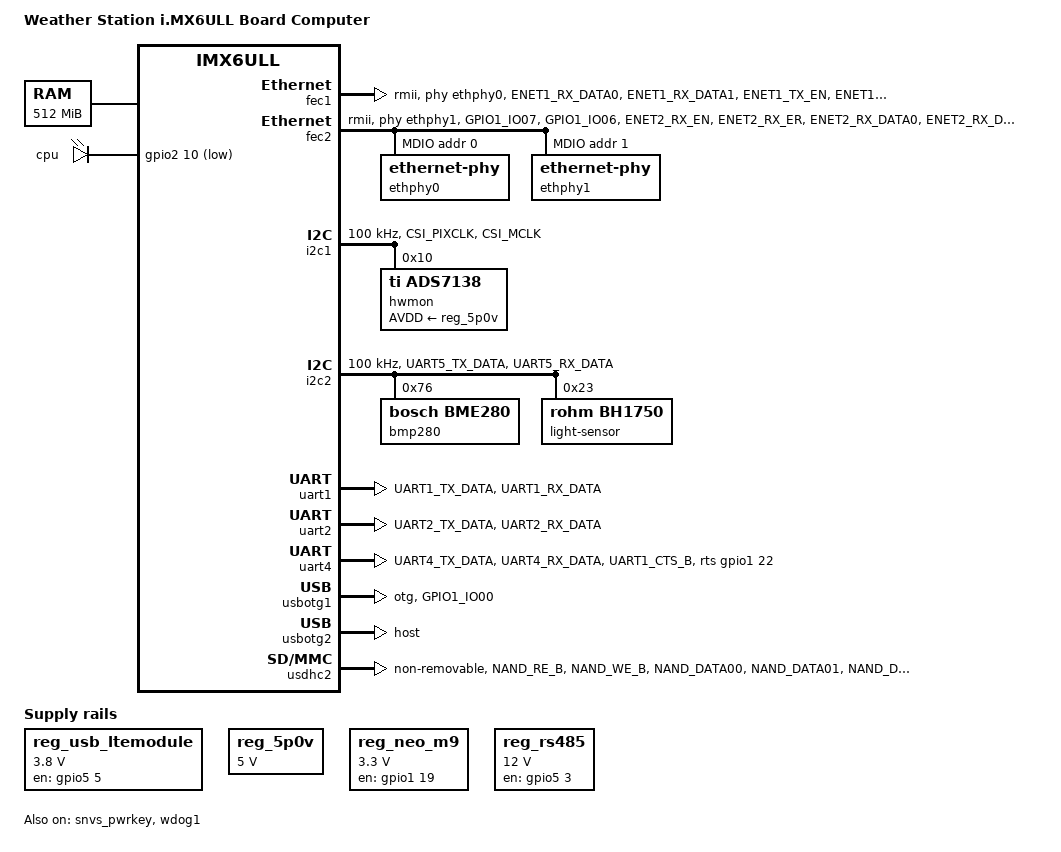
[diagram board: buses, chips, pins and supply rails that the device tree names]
// SPDX-License-Identifier: GPL-2.0
/*
 * Copyright (C) 2020 Linumiz
 * Author: Parthiban Nallathambi <parthiban@linumiz.com>
 */

/dts-v1/;
 #include "imx6ull.dtsi"

/ {
	model = "Weather Station i.MX6ULL Board Computer";
	compatible = "fsl,imx6ull-14x14-evk", "fsl,imx6ull";

	chosen {
		stdout-path = &uart1;
	};

	memory@80000000 {
		device_type = "memory";
		reg = <0x80000000 0x20000000>;
	};

	reserved-memory {
		#address-cells = <1>;
		#size-cells = <1>;
		ranges;

		linux,cma {
			compatible = "shared-dma-pool";
			reusable;
			size = <0x8000000>;
			linux,cma-default;
		};
	};

	leds {
		compatible = "gpio-leds";
		pinctrl-names = "default";
		pinctrl-0 = <&pinctrl_leds>;

		led0: cpu {
			label = "cpu";
			gpios = <&gpio2 10 GPIO_ACTIVE_LOW>;
			default-state = "on";
			linux,default-trigger = "heartbeat";
		};
    };

	reg_usb_ltemodule: regulator@1 {
		compatible = "regulator-fixed";
		regulator-name = "ltemodule-pwr";
		regulator-min-microvolt = <3800000>;
		regulator-max-microvolt = <3800000>;
		gpios = <&gpio5 5 GPIO_ACTIVE_HIGH>;
		enable-active-high;
		regulator-boot-on;
		regulator-always-on;
	};

	reg_5p0v: regulator-5p0v {
		compatible = "regulator-fixed";
		regulator-name = "5P0V";
		regulator-min-microvolt = <5000000>;
		regulator-max-microvolt = <5000000>;
		regulator-always-on;
	};

	reg_neo_m9: regulator@2 {
		compatible = "regulator-fixed";
		regulator-name = "neo-m9-power";
		regulator-min-microvolt = <3300000>;
		regulator-max-microvolt = <3300000>;
		gpios = <&gpio1 19 GPIO_ACTIVE_HIGH>;
		startup-delay-us = <20000>;
		enable-active-high;
		regulator-always-on;
	};

	reg_rs485: regulator@3 {
		compatible = "regulator-fixed";
		regulator-name = "rs-485-12vpower";
		regulator-min-microvolt = <12000000>;
		regulator-max-microvolt = <12000000>;
		gpios = <&gpio5 3 GPIO_ACTIVE_HIGH>;
		enable-active-high;
	};
};

&fec1 {
	pinctrl-names = "default";
	pinctrl-0 = <&pinctrl_enet1>;
	phy-mode = "rmii";
	phy-handle = <&ethphy0>;
	phy-reset-gpios = <&gpio5 9 GPIO_ACTIVE_LOW>;
	phy-reset-duration = <26>;
	phy-reset-post-delay=<20>;
	status = "okay";
};

&fec2 {
	pinctrl-names = "default";
	pinctrl-0 = <&pinctrl_enet2>;
	phy-mode = "rmii";
	phy-handle = <&ethphy1>;
	phy-reset-gpios = <&gpio5 6 GPIO_ACTIVE_LOW>;
	phy-reset-duration = <26>;
	phy-reset-post-delay=<20>;
	status = "okay";

	mdio {
		#address-cells = <1>;
		#size-cells = <0>;

		ethphy0: ethernet-phy@0 {
			reg = <0>;
			micrel,led-mode = <1>;
		};

		ethphy1: ethernet-phy@1 {
			reg = <1>;
			micrel,led-mode = <1>;
		};
	};
};

&gpmi {
	status = "disabled";
};

&i2c1 {
	clock-frequency = <100000>;
	pinctrl-names = "default";
	pinctrl-0 = <&pinctrl_i2c1>;
	status = "okay";

	hwmon@10 {
		compatible = "ti,ads7138";
		reg = <0x10>;
		AVDD-supply = <&reg_5p0v>;
	};
};

&i2c2 {
	clock-frequency = <100000>;
	pinctrl-names = "default";
	pinctrl-0 = <&pinctrl_i2c2>;
	status = "okay";

	bmp280: pressure@76 {
		compatible = "bosch,bme280";
		reg = <0x76>;
	};

	light-sensor@23 {
		compatible = "rohm,bh1750";
		reg = <0x23>;
	};
};

&snvs_poweroff {
	status = "okay";
};

&snvs_pwrkey {
	status = "okay";
};

&uart1 {
	pinctrl-names = "default";
	pinctrl-0 = <&pinctrl_uart1>;
	status = "okay";
};

&uart2 {
	pinctrl-names = "default";
	pinctrl-0 = <&pinctrl_uart2>;
	uart-has-rtscts;
	/* for DTE mode, add below change */
	/* fsl,dte-mode; */
	/* pinctrl-0 = <&pinctrl_uart2dte>; */
	status = "okay";
};

&uart4 {
    pinctrl-names = "default";
    pinctrl-0 = <&pinctrl_uart4>;
    rts-gpios = <&gpio1 22 GPIO_ACTIVE_HIGH>;
    status = "okay";
};

&usbotg1 {
	dr_mode = "otg";
	pinctrl-names = "default";
	pinctrl-0 = <&pinctrl_usb_otg1>;
	srp-disable;
	hnp-disable;
	adp-disable;
	status = "okay";
};

&usbotg2 {
	dr_mode = "host";
	disable-over-current;
	status = "okay";
};

&usbphy1 {
	fsl,tx-d-cal = <5>;
};

&usbphy2 {
	fsl,tx-d-cal = <5>;
};

&usdhc2 {
    pinctrl-names = "default";
    pinctrl-0 = <&pinctrl_usdhc2>;
    non-removable;
    keep-power-in-suspend;
    wakeup-source;
    status = "okay";
};

&wdog1 {
	pinctrl-names = "default";
	status="okay";
};

&gpio3 {
	pinctrl-names = "default";
	pinctrl-0 = <&pinctrl_gpio3>;

	// gpio-line-names = "GPO0",
	// "GPIO1",
	// "GPIO2",
	// "GPIO3",
	// "GPIO4",
	// "GPIO5",
	// "GPIO6",
	// "GPIO7",
	// "GPIO8",
	// "GPIO9",
	// "GPIO10",
	// "";
}; 

&iomuxc {
	pinctrl-names = "default";
	pinctrl_hog_1: hoggrp-1 {
	fsl,pins = <
		MX6UL_PAD_NAND_CE1_B__GPIO4_IO14    0x17059 /* LTE RESET */
		MX6ULL_PAD_CSI_HSYNC__ESAI_TX1		0x17059 /* ADS Alert */
		MX6UL_PAD_UART1_RTS_B__GPIO1_IO19	0x17059 /* GPS Enable */
		>;
	};

	pinctrl_gpio3: gpio3grp {
		fsl,pins = <
		MX6UL_PAD_LCD_CLK__GPIO3_IO00			0x17059 /* GPO0 */
		MX6UL_PAD_LCD_ENABLE__GPIO3_IO01		0x17059 /* GPO1 */
		MX6UL_PAD_LCD_HSYNC__GPIO3_IO02			0x17059 /* GPO2 */
		MX6UL_PAD_LCD_VSYNC__GPIO3_IO03			0x17059 /* GPO3 */
		MX6UL_PAD_LCD_RESET__GPIO3_IO04			0x17059 /* GPO4 */
		MX6UL_PAD_LCD_DATA00__GPIO3_IO05		0x17059 /* GPO5 */
		MX6UL_PAD_LCD_DATA01__GPIO3_IO06		0x17059 /* GPO6 */
		MX6UL_PAD_LCD_DATA02__GPIO3_IO07		0x17059 /* GPO7 */
		MX6UL_PAD_LCD_DATA03__GPIO3_IO08		0x17059 /* GPO8 */
		MX6UL_PAD_LCD_DATA04__GPIO3_IO09		0x17059 /* GPO9 */
		MX6UL_PAD_LCD_DATA05__GPIO3_IO10		0x17059 /* GPO10 */
		>;
	};

	pinctrl_enet1: enet1grp {
		fsl,pins = <
			MX6UL_PAD_ENET1_RX_DATA0__ENET1_RDATA00	0x1b0b0
			MX6UL_PAD_ENET1_RX_DATA1__ENET1_RDATA01	0x1b0b0
			MX6UL_PAD_ENET1_TX_EN__ENET1_TX_EN	0x1b0b0
			MX6UL_PAD_ENET1_TX_DATA0__ENET1_TDATA00	0x1b0b0
			MX6UL_PAD_ENET1_TX_DATA1__ENET1_TDATA01	0x1b0b0
			MX6UL_PAD_ENET1_TX_CLK__ENET1_REF_CLK1	0x4001b031
		>;
	};

	pinctrl_enet2: enet2grp {
		fsl,pins = <
			MX6UL_PAD_GPIO1_IO07__ENET2_MDC		0x1b0b0
			MX6UL_PAD_GPIO1_IO06__ENET2_MDIO	0x1b0b0
			MX6UL_PAD_ENET2_RX_EN__ENET2_RX_EN	0x1b0b0
			MX6UL_PAD_ENET2_RX_ER__ENET2_RX_ER	0x1b0b0
			MX6UL_PAD_ENET2_RX_DATA0__ENET2_RDATA00	0x1b0b0
			MX6UL_PAD_ENET2_RX_DATA1__ENET2_RDATA01	0x1b0b0
			MX6UL_PAD_ENET2_TX_EN__ENET2_TX_EN	0x1b0b0
			MX6UL_PAD_ENET2_TX_DATA0__ENET2_TDATA00	0x1b0b0
			MX6UL_PAD_ENET2_TX_DATA1__ENET2_TDATA01	0x1b0b0
			MX6UL_PAD_ENET2_TX_CLK__ENET2_REF_CLK2	0x4001b031
		>;
	};

	pinctrl_i2c1: i2c1grp {
		fsl,pins = <
			MX6UL_PAD_CSI_PIXCLK__I2C1_SCL 0x4001b8b0
			MX6UL_PAD_CSI_MCLK__I2C1_SDA 0x4001b8b0
		>;
	};

	pinctrl_i2c2: i2c2grp {
		fsl,pins = <
			MX6UL_PAD_UART5_TX_DATA__I2C2_SCL 0x4001b8b0
			MX6UL_PAD_UART5_RX_DATA__I2C2_SDA 0x4001b8b0
		>;
	};

	pinctrl_uart1: uart1grp {
		fsl,pins = <
			MX6UL_PAD_UART1_TX_DATA__UART1_DCE_TX 0x1b0b1
			MX6UL_PAD_UART1_RX_DATA__UART1_DCE_RX 0x1b0b1
		>;
	};

	pinctrl_uart2: uart2grp {
		fsl,pins = <
			MX6UL_PAD_UART2_TX_DATA__UART2_DCE_TX	0x1b0b1
			MX6UL_PAD_UART2_RX_DATA__UART2_DCE_RX	0x1b0b1
		>;
	};

	pinctrl_uart2dte: uart2dtegrp {
		fsl,pins = <
			MX6UL_PAD_UART2_TX_DATA__UART2_DTE_RX	0x1b0b1
			MX6UL_PAD_UART2_RX_DATA__UART2_DTE_TX	0x1b0b1
		>;
	};

	pinctrl_uart4: uart4grp {
		fsl,pins = <
			MX6UL_PAD_UART4_TX_DATA__UART4_DCE_TX   0x1b0b1
			MX6UL_PAD_UART4_RX_DATA__UART4_DCE_RX   0x1b0b1
			MX6UL_PAD_UART1_CTS_B__GPIO1_IO18       0x1b0b1 /* RS485 RE/DE */
		>;
	};

	pinctrl_usb_otg1: usbotg1grp {
		fsl,pins = <
			MX6UL_PAD_GPIO1_IO00__ANATOP_OTG1_ID	0x17059
		>;
	};

	pinctrl_leds: ledgrp {
		fsl,pins = <
			MX6UL_PAD_ENET2_RX_EN__GPIO2_IO10 0x1b0b0
		>;
	};

	pinctrl_usdhc2: usdhc2grp {
		fsl,pins = <
			MX6UL_PAD_NAND_RE_B__USDHC2_CLK     0x17059
			MX6UL_PAD_NAND_WE_B__USDHC2_CMD     0x17059
			MX6UL_PAD_NAND_DATA00__USDHC2_DATA0 0x17059
			MX6UL_PAD_NAND_DATA01__USDHC2_DATA1 0x17059
			MX6UL_PAD_NAND_DATA02__USDHC2_DATA2 0x17059
			MX6UL_PAD_NAND_DATA03__USDHC2_DATA3 0x17059
		>;
	};
};

&iomuxc_snvs {                                                                                                                                    
	pinctrl-names = "default_snvs";                                                                                                                                                                                                                                                                                                                                                                                                                                                                               
	pinctrl_hog_2: hoggrp-2 {                                                                                                                 
		fsl,pins = <                                                                                                                      
			MX6ULL_PAD_SNVS_TAMPER0__GPIO5_IO00     0x80000000                                                                
			MX6ULL_PAD_SNVS_TAMPER9__GPIO5_IO09     0x1b0b0 /* enet1 reset */                                                 
			MX6ULL_PAD_SNVS_TAMPER7__GPIO5_IO07     0x1b0b0 /* LTE module WakeOut */                                          
			MX6ULL_PAD_SNVS_TAMPER6__GPIO5_IO06     0x1b0b0 /* enet2 reset */                                                 
			MX6ULL_PAD_SNVS_TAMPER5__GPIO5_IO05     0x1b0b0 /* LTE module power */                                                                                       
			MX6ULL_PAD_SNVS_TAMPER2__GPIO5_IO02     0x1b0b0 /* TP Reset */                                                    
		>;                                                                                                                                
	};                                                                                                                                                                                                                                                               
};
